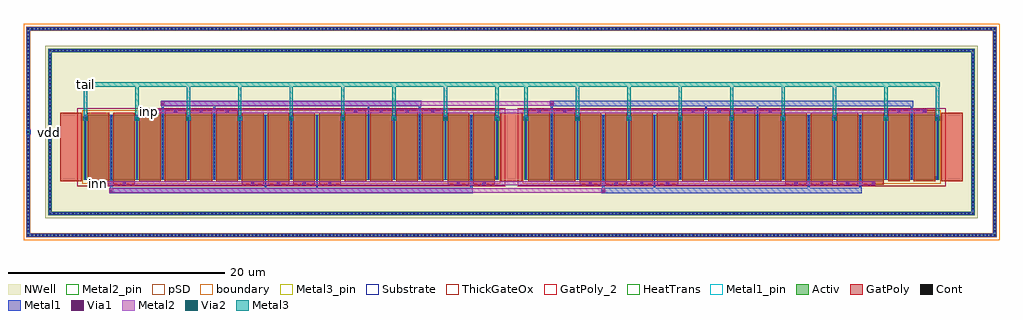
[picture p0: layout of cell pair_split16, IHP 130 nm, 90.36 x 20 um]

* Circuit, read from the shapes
.subckt pair_split16 fn fp inn inp tail vdd vss
XM1 fn inn tail vdd sg13_hv_pmos w=6u l=2u m=16
XM2 fp inp tail vdd sg13_hv_pmos w=6u l=2u m=16
.ends

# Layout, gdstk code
import gdstk
lib = gdstk.Library(unit=1e-6, precision=1e-09)
def R(c, l, rs):  # rectangles x0, y0, x1, y1
    for r in rs: c.add(gdstk.rectangle(r[:2], r[2:], *l))
def A(c, l, x, y, w, h, nx, ny, dx, dy):  # array of equal rectangles
    R(c, l, [(x+i*dx, y+j*dy, x+i*dx+w, y+j*dy+h) for i in range(nx) for j in range(ny)])
def P(c, l, *ps):  # polygons
    for p in ps: c.add(gdstk.Polygon(p, *l))
Activ = (1, 0)
GatPoly = (5, 0)
GatPoly_2 = (5, 2)
Cont = (6, 0)
Metal1 = (8, 0)
Metal1_pin = (8, 2)
Metal2 = (10, 0)
Metal2_pin = (10, 2)
pSD = (14, 0)
Via1 = (19, 0)
Via2 = (29, 0)
Metal3 = (30, 0)
Metal3_pin = (30, 2)
NWell = (31, 0)
Substrate = (40, 0)
ThickGateOx = (44, 0)
HeatTrans = (51, 0)
boundary = (189, 4)

pmoshv_1 = lib.new_cell('pmosHV$1')
A(pmoshv_1, Activ, 0, 0, 0.3, 0.3, 17, 1, 2.38, 0)
R(pmoshv_1, Activ, [(0,0,38.38,6)])
A(pmoshv_1, GatPoly, 0.34, -0.18, 2, 6.36, 16, 1, 2.38, 0)
R(pmoshv_1, GatPoly_2, [(0.34,-0.18,2.34,6.18)])
A(pmoshv_1, Cont, 0.07, 0.07, 0.16, 0.16, 17, 4, 2.38, 0.355)
A(pmoshv_1, Cont, 0.07, 1.495, 0.16, 0.16, 17, 4, 2.38, 0.355)
A(pmoshv_1, Cont, 0.07, 2.92, 0.16, 0.16, 17, 4, 2.38, 0.355)
A(pmoshv_1, Cont, 0.07, 4.345, 0.16, 0.16, 17, 4, 2.38, 0.355)
A(pmoshv_1, Cont, 0.07, 5.77, 0.16, 0.16, 17, 1, 2.38, 0)
A(pmoshv_1, Metal1, 0.07, 0, 0.16, 6, 17, 1, 2.38, 0)
R(pmoshv_1, Metal1_pin, [(0.07,0,0.23,6), (2.45,0,2.61,6)])
R(pmoshv_1, pSD, [(-0.18,-0.4,38.56,6.4)])
R(pmoshv_1, NWell, [(-0.62,-0.62,39,6.62)])
R(pmoshv_1, Substrate, [(38.08,0,38.38,0.3)])
R(pmoshv_1, ThickGateOx, [(-0.62,-0.62,39,6.62)])
A(pmoshv_1, HeatTrans, 0.34, -0.18, 2, 6.36, 16, 1, 2.38, 0)
pmoshv_1.add(gdstk.Label('pmosHV', (1.34,3), layer=63, texttype=0))
pmoshv_1.add(gdstk.Label('pmos', (1.34,3), layer=51, texttype=0))
pmoshv_1.add(gdstk.Label('pmos', (3.72,3), layer=51, texttype=0))
pmoshv_1.add(gdstk.Label('pmos', (6.1,3), layer=51, texttype=0))
pmoshv_1.add(gdstk.Label('pmos', (8.48,3), layer=51, texttype=0))
pmoshv_1.add(gdstk.Label('pmos', (10.86,3), layer=51, texttype=0))
pmoshv_1.add(gdstk.Label('pmos', (13.24,3), layer=51, texttype=0))
pmoshv_1.add(gdstk.Label('pmos', (15.62,3), layer=51, texttype=0))
pmoshv_1.add(gdstk.Label('pmos', (18,3), layer=51, texttype=0))
pmoshv_1.add(gdstk.Label('pmos', (20.38,3), layer=51, texttype=0))
pmoshv_1.add(gdstk.Label('pmos', (22.76,3), layer=51, texttype=0))
pmoshv_1.add(gdstk.Label('pmos', (25.14,3), layer=51, texttype=0))
pmoshv_1.add(gdstk.Label('pmos', (27.52,3), layer=51, texttype=0))
pmoshv_1.add(gdstk.Label('pmos', (29.9,3), layer=51, texttype=0))
pmoshv_1.add(gdstk.Label('pmos', (32.28,3), layer=51, texttype=0))
pmoshv_1.add(gdstk.Label('pmos', (34.66,3), layer=51, texttype=0))
pmoshv_1.add(gdstk.Label('pmos', (37.04,3), layer=51, texttype=0))

pair_split16 = lib.new_cell('pair_split16')
P(pair_split16, Activ, [(-3.3,-3.3),(-3.3,11.8),(-3,11.8),(-3,-3),(82.16,-3),(82.16,11.8),(-3.3,11.8),(-3.3,12.1),(82.46,12.1),(82.46,-3.3)],
  [(-5.3,-5.3),(-5.3,13.8),(-5,13.8),(-5,-5),(84.16,-5),(84.16,13.8),(-5.3,13.8),(-5.3,14.1),(84.46,14.1),(84.46,-5.3)])
A(pair_split16, GatPoly, 14.62, -0.48, 2, 0.38, 4, 1, 2.38, 0)
A(pair_split16, GatPoly, 45.88, -0.48, 2, 0.38, 4, 1, 2.38, 0)
A(pair_split16, GatPoly, 64.92, -0.48, 2, 0.38, 4, 1, 2.38, 0)
A(pair_split16, GatPoly, 5.1, 6.1, 2, 0.38, 4, 1, 2.38, 0)
A(pair_split16, GatPoly, 24.14, 6.1, 2, 0.38, 4, 1, 2.38, 0)
A(pair_split16, GatPoly, 55.4, 6.1, 2, 0.38, 4, 1, 2.38, 0)
R(pair_split16, GatPoly, [(0.34,-0.48,2.34,-0.1), (2.72,-0.48,4.72,-0.1), (33.66,-0.48,35.66,-0.1), (36.04,-0.48,38.04,-0.1), (-2.2,-0.18,-0.2,6.18), (38.58,-0.18,40.58,6.18), (38.58,-0.18,40.58,6.18), (79.36,-0.18,81.36,6.18), (41.12,6.1,43.12,6.48), (43.5,6.1,45.5,6.48), (74.44,6.1,76.44,6.48), (76.82,6.1,78.82,6.48)])
A(pair_split16, Cont, -4.87, -5.23, 0.16, 0.16, 262, 2, 0.34, 19.1)
A(pair_split16, Cont, -5.23, -4.86, 0.16, 0.16, 1, 55, 0, 0.34)
A(pair_split16, Cont, 84.23, -4.86, 0.16, 0.16, 1, 55, 0, 0.34)
A(pair_split16, Cont, -2.83, -3.23, 0.16, 0.16, 250, 2, 0.34, 15.1)
A(pair_split16, Cont, -3.23, -2.82, 0.16, 0.16, 1, 43, 0, 0.34)
A(pair_split16, Cont, 82.23, -2.82, 0.16, 0.16, 1, 43, 0, 0.34)
A(pair_split16, Cont, 15.54, -0.41, 0.16, 0.16, 4, 1, 2.38, 0)
A(pair_split16, Cont, 46.8, -0.41, 0.16, 0.16, 4, 1, 2.38, 0)
A(pair_split16, Cont, 65.84, -0.41, 0.16, 0.16, 4, 1, 2.38, 0)
A(pair_split16, Cont, 6.02, 6.25, 0.16, 0.16, 4, 1, 2.38, 0)
A(pair_split16, Cont, 25.06, 6.25, 0.16, 0.16, 4, 1, 2.38, 0)
A(pair_split16, Cont, 56.32, 6.25, 0.16, 0.16, 4, 1, 2.38, 0)
R(pair_split16, Cont, [(-5.23,-5.23,-5.07,-5.07), (84.23,-5.23,84.39,-5.07), (-3.23,-3.23,-3.07,-3.07), (82.23,-3.23,82.39,-3.07), (1.26,-0.41,1.42,-0.25), (3.64,-0.41,3.8,-0.25), (34.58,-0.41,34.74,-0.25), (36.96,-0.41,37.12,-0.25), (42.04,6.25,42.2,6.41), (44.42,6.25,44.58,6.41), (75.36,6.25,75.52,6.41), (77.74,6.25,77.9,6.41), (-3.23,11.87,-3.07,12.03), (82.23,11.87,82.39,12.03), (-5.23,13.87,-5.07,14.03), (84.23,13.87,84.39,14.03)])
A(pair_split16, Metal1, 15.47, -0.48, 0.3, 0.3, 4, 1, 2.38, 0)
A(pair_split16, Metal1, 46.73, -0.48, 0.3, 0.3, 4, 1, 2.38, 0)
A(pair_split16, Metal1, 65.77, -0.48, 0.3, 0.3, 4, 1, 2.38, 0)
A(pair_split16, Metal1, -0.05, 5.45, 0.4, 0.4, 9, 1, 4.76, 0)
A(pair_split16, Metal1, 40.73, 5.45, 0.4, 0.4, 9, 1, 4.76, 0)
A(pair_split16, Metal1, -0.02, 5.48, 0.34, 0.34, 9, 1, 4.76, 0)
A(pair_split16, Metal1, 40.76, 5.48, 0.34, 0.34, 9, 1, 4.76, 0)
A(pair_split16, Metal1, 5.95, 6.18, 0.3, 0.3, 4, 1, 2.38, 0)
A(pair_split16, Metal1, 24.99, 6.18, 0.3, 0.3, 4, 1, 2.38, 0)
A(pair_split16, Metal1, 56.25, 6.18, 0.3, 0.3, 4, 1, 2.38, 0)
R(pair_split16, Metal1, [(2.4,-1.28,35.98,-0.78), (2.45,-1.28,2.61,0), (16.73,-1.28,16.89,0), (21.49,-1.28,21.65,0), (35.77,-1.28,35.93,0), (47.94,-1.28,72,-0.78), (47.99,-1.28,48.15,0), (52.75,-1.28,52.91,0), (67.03,-1.28,67.19,0), (71.79,-1.28,71.95,0), (2.33,-1.23,2.73,-0.83), (47.87,-1.23,48.27,-0.83), (1.19,-0.48,1.49,-0.18), (3.57,-0.48,3.87,-0.18), (34.51,-0.48,34.81,-0.18), (36.89,-0.48,37.19,-0.18), (-5.35,4.2,-4.95,4.6), (-3.35,4.2,-2.95,4.6), (7.21,6,7.37,7.28), (11.97,6,12.13,7.28), (26.25,6,26.41,7.28), (31.01,6,31.17,7.28), (43.23,6,43.39,7.28), (57.51,6,57.67,7.28), (62.27,6,62.43,7.28), (76.55,6,76.71,7.28), (41.97,6.18,42.27,6.48), (44.35,6.18,44.65,6.48), (75.29,6.18,75.59,6.48), (77.67,6.18,77.97,6.48), (7.16,6.78,31.22,7.28), (43.18,6.78,76.76,7.28), (7.09,6.83,7.49,7.23), (43.11,6.83,43.51,7.23)])
P(pair_split16, Metal1, [(-3.28,-3.28),(-3.28,11.82),(-3.02,11.82),(-3.02,-3.02),(82.18,-3.02),(82.18,11.82),(-3.28,11.82),(-3.28,12.08),(82.44,12.08),(82.44,-3.28)],
  [(-5.28,-5.28),(-5.28,13.82),(-5.02,13.82),(-5.02,-5.02),(84.18,-5.02),(84.18,13.82),(-5.28,13.82),(-5.28,14.08),(84.44,14.08),(84.44,-5.28)])
R(pair_split16, Metal1_pin, [(-5.35,4.2,-4.95,4.6), (-3.35,4.2,-2.95,4.6)])
A(pair_split16, Metal2, 15.42, -0.52, 0.4, 0.38, 4, 1, 2.38, 0)
A(pair_split16, Metal2, 46.68, -0.52, 0.4, 0.38, 4, 1, 2.38, 0)
A(pair_split16, Metal2, 65.72, -0.52, 0.4, 0.38, 4, 1, 2.38, 0)
A(pair_split16, Metal2, 5.9, 6.14, 0.4, 0.38, 4, 1, 2.38, 0)
A(pair_split16, Metal2, 24.94, 6.14, 0.4, 0.38, 4, 1, 2.38, 0)
A(pair_split16, Metal2, 56.2, 6.14, 0.4, 0.38, 4, 1, 2.38, 0)
R(pair_split16, Metal2, [(2.33,-1.23,2.73,-0.83), (2.33,-1.23,2.73,-0.83), (2.33,-1.23,48.27,-0.83), (47.87,-1.23,48.27,-0.83), (1.14,-0.53,1.54,-0.13), (1.14,-0.52,1.54,-0.14), (1.15,-0.52,37.23,-0.14), (1.15,-0.52,73.25,-0.14), (3.52,-0.52,3.92,-0.14), (34.46,-0.52,34.86,-0.14), (36.84,-0.52,37.24,-0.14), (46.69,-0.52,73.25,-0.14), (-0.05,5.45,0.35,5.85), (-0.05,5.45,0.35,5.85), (4.71,5.45,5.11,5.85), (4.71,5.45,5.11,5.85), (9.47,5.45,9.87,5.85), (9.47,5.45,9.87,5.85), (14.23,5.45,14.63,5.85), (14.23,5.45,14.63,5.85), (18.99,5.45,19.39,5.85), (18.99,5.45,19.39,5.85), (23.75,5.45,24.15,5.85), (23.75,5.45,24.15,5.85), (28.51,5.45,28.91,5.85), (28.51,5.45,28.91,5.85), (33.27,5.45,33.67,5.85), (33.27,5.45,33.67,5.85), (38.03,5.45,38.43,5.85), (38.03,5.45,38.43,5.85), (40.73,5.45,41.13,5.85), (40.73,5.45,41.13,5.85), (45.49,5.45,45.89,5.85), (45.49,5.45,45.89,5.85), (50.25,5.45,50.65,5.85), (50.25,5.45,50.65,5.85), (55.01,5.45,55.41,5.85), (55.01,5.45,55.41,5.85), (59.77,5.45,60.17,5.85), (59.77,5.45,60.17,5.85), (64.53,5.45,64.93,5.85), (64.53,5.45,64.93,5.85), (69.29,5.45,69.69,5.85), (69.29,5.45,69.69,5.85), (74.05,5.45,74.45,5.85), (74.05,5.45,74.45,5.85), (78.81,5.45,79.21,5.85), (78.81,5.45,79.21,5.85), (5.9,6.13,6.3,6.53), (5.91,6.14,32.47,6.52), (5.91,6.14,78.01,6.52), (41.92,6.14,42.32,6.52), (41.93,6.14,78.01,6.52), (44.3,6.14,44.7,6.52), (75.24,6.14,75.64,6.52), (77.62,6.14,78.02,6.52), (7.09,6.83,7.49,7.23), (7.09,6.83,7.49,7.23), (7.09,6.83,43.51,7.23), (43.11,6.83,43.51,7.23)])
R(pair_split16, Metal2_pin, [(2.33,-1.23,2.73,-0.83), (1.14,-0.53,1.54,-0.13), (5.9,6.13,6.3,6.53), (7.09,6.83,7.49,7.23)])
P(pair_split16, pSD, [(-5.33,-5.33),(-5.33,13.77),(-4.97,13.77),(-4.97,-4.97),(84.13,-4.97),(84.13,13.77),(-5.33,13.77),(-5.33,14.13),(84.49,14.13),(84.49,-5.33)])
A(pair_split16, Via1, 15.525, -0.425, 0.19, 0.19, 4, 1, 2.38, 0)
A(pair_split16, Via1, 46.785, -0.425, 0.19, 0.19, 4, 1, 2.38, 0)
A(pair_split16, Via1, 65.825, -0.425, 0.19, 0.19, 4, 1, 2.38, 0)
A(pair_split16, Via1, 0.055, 5.555, 0.19, 0.19, 9, 1, 4.76, 0)
A(pair_split16, Via1, 40.835, 5.555, 0.19, 0.19, 9, 1, 4.76, 0)
A(pair_split16, Via1, 6.005, 6.235, 0.19, 0.19, 4, 1, 2.38, 0)
A(pair_split16, Via1, 25.045, 6.235, 0.19, 0.19, 4, 1, 2.38, 0)
A(pair_split16, Via1, 56.305, 6.235, 0.19, 0.19, 4, 1, 2.38, 0)
R(pair_split16, Via1, [(2.435,-1.125,2.625,-0.935), (47.975,-1.125,48.165,-0.935), (1.245,-0.425,1.435,-0.235), (3.625,-0.425,3.815,-0.235), (34.565,-0.425,34.755,-0.235), (36.945,-0.425,37.135,-0.235), (42.025,6.235,42.215,6.425), (44.405,6.235,44.595,6.425), (75.345,6.235,75.535,6.425), (77.725,6.235,77.915,6.425), (7.195,6.935,7.385,7.125), (43.215,6.935,43.405,7.125)])
A(pair_split16, Via2, 0.055, 5.555, 0.19, 0.19, 9, 1, 4.76, 0)
A(pair_split16, Via2, 40.835, 5.555, 0.19, 0.19, 9, 1, 4.76, 0)
A(pair_split16, Metal3, -0.05, 5.45, 0.4, 0.4, 9, 1, 4.76, 0)
A(pair_split16, Metal3, 40.73, 5.45, 0.4, 0.4, 9, 1, 4.76, 0)
A(pair_split16, Metal3, 0, 5.5, 0.3, 3.45, 9, 1, 4.76, 0)
A(pair_split16, Metal3, 40.78, 5.5, 0.3, 3.45, 9, 1, 4.76, 0)
R(pair_split16, Metal3, [(-0.05,8.6,0.35,9), (-0.05,8.6,79.21,9)])
R(pair_split16, Metal3_pin, [(-0.05,8.6,0.35,9)])
R(pair_split16, NWell, [(-3.6,-3.6,82.76,12.4)])
R(pair_split16, boundary, [(-5.6,-5.6,84.76,14.4)])
pair_split16.add(gdstk.Reference(pmoshv_1, (0,0)))
pair_split16.add(gdstk.Reference(pmoshv_1, (40.78,0)))
pair_split16.add(gdstk.Label('vdd', (-3.15,4.4), layer=8, texttype=25))
pair_split16.add(gdstk.Label('vss', (-5.15,4.4), layer=8, texttype=25))
pair_split16.add(gdstk.Label('inn', (1.34,-0.33), layer=10, texttype=25))
pair_split16.add(gdstk.Label('inp', (6.1,6.33), layer=10, texttype=25))
pair_split16.add(gdstk.Label('fn', (2.53,-1.03), layer=10, texttype=25))
pair_split16.add(gdstk.Label('fp', (7.29,7.03), layer=10, texttype=25))
pair_split16.add(gdstk.Label('tail', (0.15,8.8), layer=30, texttype=25))

lib.write_gds('pair_split16.gds')
